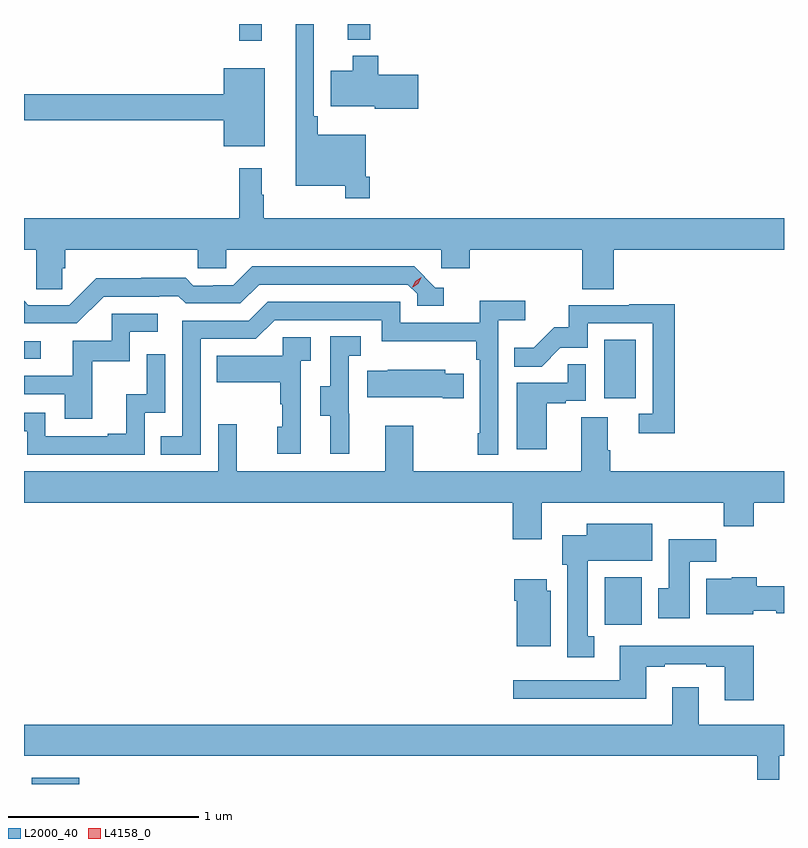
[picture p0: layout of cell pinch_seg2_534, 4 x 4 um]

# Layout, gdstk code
import gdstk
lib = gdstk.Library(unit=1e-6, precision=1e-09)
def R(c, l, rs):  # rectangles x0, y0, x1, y1
    for r in rs: c.add(gdstk.rectangle(r[:2], r[2:], *l))
def P(c, l, *ps):  # polygons
    for p in ps: c.add(gdstk.Polygon(p, *l))
L2000_40 = (2000, 40)
L4158_0 = (4158, 0)

pinch_seg2_534 = lib.new_cell('pinch_seg2_534')
R(pinch_seg2_534, L2000_40, [(1126.937,612.855,1127.188,612.889), (1129.953,613.692,1130.149,613.942), (1129.952,614.886,1130.116,615.193), (1126.897,615.093,1126.984,615.186), (1128.031,616.767,1128.149,616.855), (1128.602,616.772,1128.719,616.855)])
P(pinch_seg2_534, L2000_40, [(1128.716,616.051),(1128.696,616.051),(1128.696,616.273),(1128.443,616.273),(1128.443,616.369),(1128.423,616.369),(1128.423,616.855),(1128.326,616.855),(1128.326,616.004),(1128.588,616.004),(1128.588,615.939),(1128.716,615.939)],
  [(1128.973,616.587),(1128.761,616.587),(1128.761,616.687),(1128.626,616.687),(1128.626,616.609),(1128.512,616.609),(1128.512,616.421),(1128.744,616.421),(1128.744,616.409),(1128.973,616.409)],
  [(1128.163,616.621),(1127.948,616.621),(1127.948,616.484),(1126.897,616.484),(1126.897,616.348),(1127.948,616.348),(1127.948,616.211),(1128.163,616.211)],
  [(1127.099,615.57),(1127.114,615.57),(1127.114,615.668),(1127.811,615.668),(1127.811,615.57),(1127.961,615.57),(1127.961,615.668),(1129.092,615.668),(1129.092,615.57),(1129.244,615.57),(1129.244,615.668),(1129.835,615.668),(1129.835,615.46),(1130,615.46),(1130,615.668),(1130.897,615.668),(1130.897,615.832),(1128.16,615.832),(1128.16,615.956),(1128.148,615.956),(1128.148,616.096),(1128.031,616.096),(1128.031,615.832),(1126.897,615.832),(1126.897,615.668),(1126.962,615.668),(1126.962,615.46),(1127.099,615.46)],
  [(1127.316,615.42),(1127.609,615.42),(1127.609,615.423),(1127.708,615.423),(1127.747,615.384),(1128.036,615.384),(1128.135,615.483),(1128.918,615.483),(1128.966,615.435),(1128.966,615.372),(1129.105,615.372),(1129.105,615.468),(1129.062,615.468),(1128.951,615.579),(1128.098,615.579),(1127.999,615.48),(1127.892,615.48),(1127.892,615.477),(1127.789,615.477),(1127.747,615.52),(1127.514,615.52),(1127.514,615.517),(1127.278,615.517),(1127.136,615.375),(1126.92,615.375),(1126.897,615.398),(1126.897,615.279),(1127.175,615.279)],
  [(1127.826,615.198),(1128.117,615.198),(1128.216,615.297),(1128.78,615.297),(1128.78,615.185),(1129.276,615.185),(1129.276,615.089),(1129.296,615.089),(1129.296,614.701),(1129.284,614.701),(1129.284,614.589),(1129.392,614.589),(1129.392,615.296),(1129.534,615.296),(1129.534,615.398),(1129.295,615.398),(1129.295,615.282),(1128.876,615.282),(1128.876,615.393),(1128.179,615.393),(1128.08,615.294),(1127.73,615.294),(1127.73,614.685),(1127.617,614.685),(1127.617,614.589),(1127.826,614.589)],
  [(1130.321,615.38),(1130.083,615.38),(1130.083,615.375),(1129.765,615.375),(1129.765,615.258),(1129.688,615.258),(1129.581,615.151),(1129.477,615.151),(1129.477,615.052),(1129.621,615.052),(1129.719,615.15),(1129.863,615.15),(1129.863,615.279),(1130.205,615.279),(1130.205,614.805),(1130.133,614.805),(1130.133,614.7),(1130.321,614.7)],
  [(1127.255,615.081),(1127.454,615.081),(1127.454,615.234),(1127.602,615.234),(1127.602,615.33),(1127.358,615.33),(1127.358,615.189),(1127.153,615.189),(1127.153,615.003),(1126.897,615.003),(1126.897,614.907),(1127.111,614.907),(1127.111,614.778),(1127.255,614.778)],
  [(1128.608,614.805),(1128.606,614.805),(1128.606,615.109),(1128.67,615.109),(1128.67,615.212),(1128.51,615.212),(1128.51,614.949),(1128.455,614.949),(1128.455,614.794),(1128.509,614.794),(1128.509,614.592),(1128.608,614.592)],
  [(1128.354,615.083),(1128.406,615.083),(1128.406,615.207),(1128.258,615.207),(1128.258,615.109),(1127.911,615.109),(1127.911,614.969),(1128.246,614.969),(1128.246,614.855),(1128.256,614.855),(1128.256,614.736),(1128.23,614.736),(1128.23,614.592),(1128.354,614.592)],
  [(1127.532,614.808),(1127.64,614.808),(1127.64,615.118),(1127.544,615.118),(1127.544,614.906),(1127.435,614.906),(1127.435,614.698),(1127.339,614.698),(1127.339,614.685),(1127.01,614.685),(1127.01,614.808),(1126.897,614.808),(1126.897,614.712),(1126.914,614.712),(1126.914,614.589),(1127.532,614.589)],
  [(1129.648,614.859),(1129.748,614.859),(1129.748,614.871),(1129.854,614.871),(1129.854,615.065),(1129.759,615.065),(1129.759,614.967),(1129.49,614.967),(1129.49,614.616),(1129.648,614.616)],
  [(1129.211,615.013),(1129.113,615.013),(1129.113,615.034),(1128.811,615.034),(1128.811,615.031),(1128.703,615.031),(1128.703,614.891),(1129.1,614.891),(1129.1,614.884),(1129.211,614.884)],
  [(1129.621,614.336),(1130.581,614.336),(1130.581,614.212),(1130.738,614.212),(1130.738,614.336),(1130.897,614.336),(1130.897,614.5),(1129.982,614.5),(1129.982,614.612),(1129.969,614.612),(1129.969,614.786),(1129.829,614.786),(1129.829,614.5),(1128.945,614.5),(1128.945,614.74),(1128.797,614.74),(1128.797,614.5),(1128.017,614.5),(1128.017,614.749),(1127.919,614.749),(1127.919,614.5),(1126.897,614.5),(1126.897,614.336),(1129.469,614.336),(1129.469,614.142),(1129.621,614.142)],
  [(1129.897,613.633),(1129.864,613.633),(1129.864,614.03),(1130.203,614.03),(1130.203,614.224),(1129.859,614.224),(1129.859,614.164),(1129.73,614.164),(1129.73,614.01),(1129.757,614.01),(1129.757,613.521),(1129.897,613.521)],
  [(1130.401,614.024),(1130.54,614.024),(1130.54,614.142),(1130.291,614.142),(1130.291,613.884),(1130.234,613.884),(1130.234,613.728),(1130.401,613.728)],
  [(1130.736,613.766),(1130.856,613.766),(1130.856,613.754),(1130.897,613.754),(1130.897,613.896),(1130.753,613.896),(1130.753,613.942),(1130.622,613.942),(1130.622,613.936),(1130.489,613.936),(1130.489,613.748),(1130.736,613.748)],
  [(1129.669,613.872),(1129.648,613.872),(1129.648,613.933),(1129.478,613.933),(1129.478,613.82),(1129.49,613.82),(1129.49,613.58),(1129.669,613.58)],
  [(1130.738,613.582),(1130.033,613.582),(1130.033,613.401),(1129.473,613.401),(1129.473,613.304),(1130.173,613.304),(1130.173,613.473),(1130.269,613.473),(1130.269,613.485),(1130.489,613.485),(1130.489,613.473),(1130.585,613.473),(1130.585,613.296),(1130.738,613.296)],
  [(1130.871,613.004),(1130.897,613.004),(1130.897,613.168),(1130.449,613.168),(1130.449,613.363),(1130.309,613.363),(1130.309,613.168),(1126.897,613.168),(1126.897,613.004),(1130.755,613.004),(1130.755,612.877),(1130.871,612.877)])
P(pinch_seg2_534, L4158_0, [(1128.941,615.469),(1128.941,615.47),(1128.957,615.502),(1128.987,615.523),(1128.988,615.523),(1128.988,615.522),(1128.972,615.489),(1128.942,615.469)])

lib.write_gds('pinch_seg2_534.gds')
